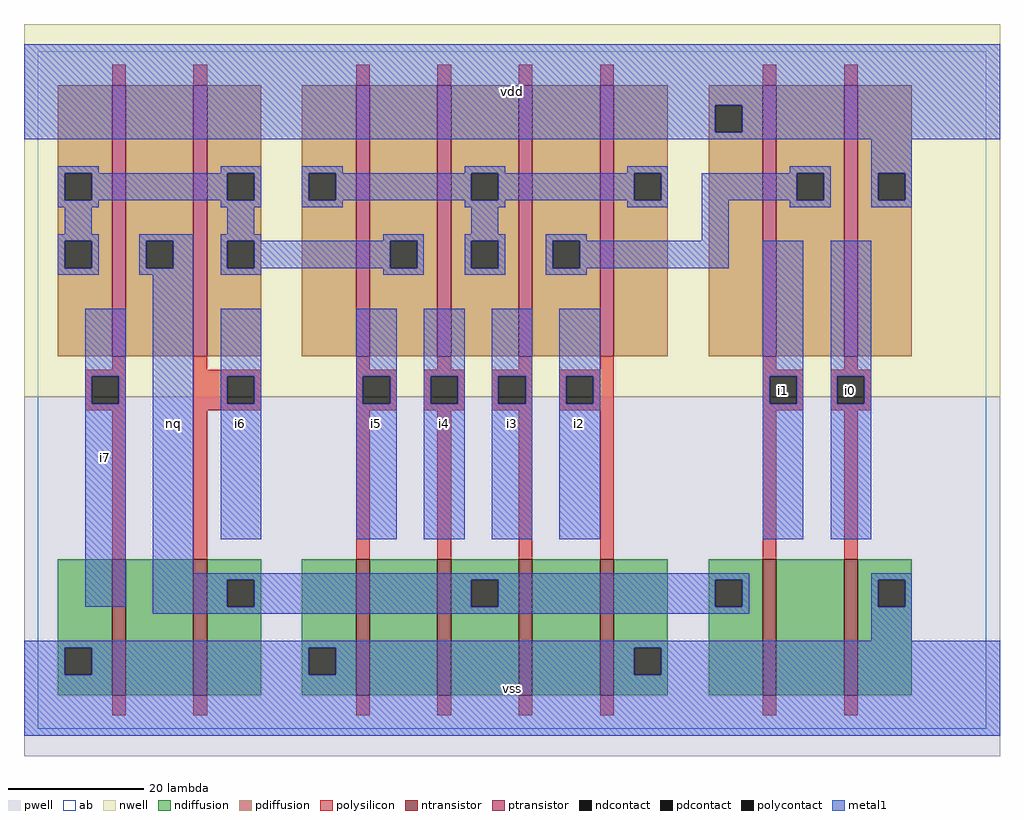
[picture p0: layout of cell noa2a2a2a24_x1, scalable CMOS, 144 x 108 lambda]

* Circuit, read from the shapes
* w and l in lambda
.subckt noa2a2a2a24_x1 i0 i1 i2 i3 i4 i5 i6 i7 nq vdd vss
M1 n1 i7 vss VSUBS nfet w=20 l=2
M2 nq i6 n1 VSUBS nfet w=20 l=2
M3 n2 i5 vss VSUBS nfet w=20 l=2
M4 nq i4 n2 VSUBS nfet w=20 l=2
M5 n3 i3 nq VSUBS nfet w=20 l=2
M6 vss i2 n3 VSUBS nfet w=20 l=2
M7 n4 i1 nq VSUBS nfet w=20 l=2
M8 vss i0 n4 VSUBS nfet w=20 l=2
M9 nq i7 n5 n6 pfet w=40 l=2
M10 n5 i6 nq n6 pfet w=40 l=2
M11 n5 i5 n7 n6 pfet w=40 l=2
M12 n7 i4 n5 n6 pfet w=40 l=2
M13 n8 i3 n7 n6 pfet w=40 l=2
M14 n7 i2 n8 n6 pfet w=40 l=2
M15 n8 i1 vdd n6 pfet w=40 l=2
M16 vdd i0 n8 n6 pfet w=40 l=2
.ends

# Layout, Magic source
magic
tech scmos
<< ab >>
rect 0 0 140 100
<< pwell >>
rect -2 -4 142 49
<< nwell >>
rect -2 49 142 104
<< polysilicon >>
rect 11 95 13 98
rect 23 95 25 98
rect 47 95 49 98
rect 59 95 61 98
rect 71 95 73 98
rect 83 95 85 98
rect 107 95 109 98
rect 119 95 121 98
rect 11 53 13 55
rect 7 52 13 53
rect 7 48 8 52
rect 12 48 13 52
rect 7 47 13 48
rect 11 25 13 47
rect 23 53 25 55
rect 47 53 49 55
rect 59 53 61 55
rect 71 53 73 55
rect 83 53 85 55
rect 23 52 33 53
rect 23 48 28 52
rect 32 48 33 52
rect 23 47 33 48
rect 47 52 53 53
rect 47 48 48 52
rect 52 48 53 52
rect 47 47 53 48
rect 57 52 63 53
rect 57 48 58 52
rect 62 48 63 52
rect 57 47 63 48
rect 67 52 73 53
rect 67 48 68 52
rect 72 48 73 52
rect 67 47 73 48
rect 77 52 85 53
rect 77 48 78 52
rect 82 48 85 52
rect 77 47 85 48
rect 23 25 25 47
rect 47 25 49 47
rect 59 25 61 47
rect 71 25 73 47
rect 83 25 85 47
rect 107 53 109 55
rect 119 53 121 55
rect 107 52 113 53
rect 107 48 108 52
rect 112 48 113 52
rect 107 47 113 48
rect 117 52 123 53
rect 117 48 118 52
rect 122 48 123 52
rect 117 47 123 48
rect 107 25 109 47
rect 119 25 121 47
rect 11 2 13 5
rect 23 2 25 5
rect 47 2 49 5
rect 59 2 61 5
rect 71 2 73 5
rect 83 2 85 5
rect 107 2 109 5
rect 119 2 121 5
<< ndiffusion >>
rect 3 12 11 25
rect 3 8 4 12
rect 8 8 11 12
rect 3 5 11 8
rect 13 5 23 25
rect 25 22 33 25
rect 25 18 28 22
rect 32 18 33 22
rect 25 5 33 18
rect 39 12 47 25
rect 39 8 40 12
rect 44 8 47 12
rect 39 5 47 8
rect 49 5 59 25
rect 61 22 71 25
rect 61 18 64 22
rect 68 18 71 22
rect 61 5 71 18
rect 73 5 83 25
rect 85 12 93 25
rect 85 8 88 12
rect 92 8 93 12
rect 85 5 93 8
rect 99 22 107 25
rect 99 18 100 22
rect 104 18 107 22
rect 99 5 107 18
rect 109 5 119 25
rect 121 22 129 25
rect 121 18 124 22
rect 128 18 129 22
rect 121 5 129 18
<< pdiffusion >>
rect 3 82 11 95
rect 3 78 4 82
rect 8 78 11 82
rect 3 72 11 78
rect 3 68 4 72
rect 8 68 11 72
rect 3 55 11 68
rect 13 72 23 95
rect 13 68 16 72
rect 20 68 23 72
rect 13 55 23 68
rect 25 82 33 95
rect 25 78 28 82
rect 32 78 33 82
rect 25 72 33 78
rect 25 68 28 72
rect 32 68 33 72
rect 25 55 33 68
rect 39 82 47 95
rect 39 78 40 82
rect 44 78 47 82
rect 39 55 47 78
rect 49 72 59 95
rect 49 68 52 72
rect 56 68 59 72
rect 49 55 59 68
rect 61 82 71 95
rect 61 78 64 82
rect 68 78 71 82
rect 61 72 71 78
rect 61 68 64 72
rect 68 68 71 72
rect 61 55 71 68
rect 73 72 83 95
rect 73 68 76 72
rect 80 68 83 72
rect 73 55 83 68
rect 85 82 93 95
rect 85 78 88 82
rect 92 78 93 82
rect 85 55 93 78
rect 99 92 107 95
rect 99 88 100 92
rect 104 88 107 92
rect 99 55 107 88
rect 109 82 119 95
rect 109 78 112 82
rect 116 78 119 82
rect 109 55 119 78
rect 121 82 129 95
rect 121 78 124 82
rect 128 78 129 82
rect 121 55 129 78
<< metal1 >>
rect -2 92 142 101
rect -2 88 100 92
rect 104 88 142 92
rect -2 87 142 88
rect 3 82 9 83
rect 27 82 33 83
rect 3 78 4 82
rect 8 78 28 82
rect 32 78 33 82
rect 3 77 9 78
rect 27 77 33 78
rect 39 82 45 83
rect 63 82 69 83
rect 87 82 93 83
rect 111 82 117 83
rect 39 78 40 82
rect 44 78 64 82
rect 68 78 88 82
rect 92 78 93 82
rect 39 77 45 78
rect 63 77 69 78
rect 87 77 93 78
rect 98 78 112 82
rect 116 78 117 82
rect 4 73 8 77
rect 28 73 32 77
rect 64 73 68 77
rect 3 72 9 73
rect 3 68 4 72
rect 8 68 9 72
rect 3 67 9 68
rect 15 72 23 73
rect 15 68 16 72
rect 20 68 23 72
rect 15 67 23 68
rect 27 72 33 73
rect 51 72 57 73
rect 27 68 28 72
rect 32 68 52 72
rect 56 68 57 72
rect 27 67 33 68
rect 51 67 57 68
rect 63 72 69 73
rect 63 68 64 72
rect 68 68 69 72
rect 63 67 69 68
rect 75 72 81 73
rect 98 72 102 78
rect 111 77 117 78
rect 123 82 129 87
rect 123 78 124 82
rect 128 78 129 82
rect 123 77 129 78
rect 75 68 76 72
rect 80 68 102 72
rect 75 67 81 68
rect 7 52 13 62
rect 7 48 8 52
rect 12 48 13 52
rect 7 18 13 48
rect 17 23 23 67
rect 27 52 33 62
rect 27 48 28 52
rect 32 48 33 52
rect 27 28 33 48
rect 47 52 53 62
rect 47 48 48 52
rect 52 48 53 52
rect 47 28 53 48
rect 57 52 63 62
rect 57 48 58 52
rect 62 48 63 52
rect 57 28 63 48
rect 67 52 73 62
rect 67 48 68 52
rect 72 48 73 52
rect 67 28 73 48
rect 77 52 83 62
rect 77 48 78 52
rect 82 48 83 52
rect 77 28 83 48
rect 107 52 113 72
rect 107 48 108 52
rect 112 48 113 52
rect 107 28 113 48
rect 117 52 123 72
rect 117 48 118 52
rect 122 48 123 52
rect 117 28 123 48
rect 17 22 105 23
rect 17 18 28 22
rect 32 18 64 22
rect 68 18 100 22
rect 104 18 105 22
rect 17 17 105 18
rect 123 22 129 23
rect 123 18 124 22
rect 128 18 129 22
rect 123 13 129 18
rect -2 12 142 13
rect -2 8 4 12
rect 8 8 40 12
rect 44 8 88 12
rect 92 8 142 12
rect -2 -1 142 8
<< ntransistor >>
rect 11 5 13 25
rect 23 5 25 25
rect 47 5 49 25
rect 59 5 61 25
rect 71 5 73 25
rect 83 5 85 25
rect 107 5 109 25
rect 119 5 121 25
<< ptransistor >>
rect 11 55 13 95
rect 23 55 25 95
rect 47 55 49 95
rect 59 55 61 95
rect 71 55 73 95
rect 83 55 85 95
rect 107 55 109 95
rect 119 55 121 95
<< polycontact >>
rect 8 48 12 52
rect 28 48 32 52
rect 48 48 52 52
rect 58 48 62 52
rect 68 48 72 52
rect 78 48 82 52
rect 108 48 112 52
rect 118 48 122 52
<< ndcontact >>
rect 4 8 8 12
rect 28 18 32 22
rect 40 8 44 12
rect 64 18 68 22
rect 88 8 92 12
rect 100 18 104 22
rect 124 18 128 22
<< pdcontact >>
rect 4 78 8 82
rect 4 68 8 72
rect 16 68 20 72
rect 28 78 32 82
rect 28 68 32 72
rect 40 78 44 82
rect 52 68 56 72
rect 64 78 68 82
rect 64 68 68 72
rect 76 68 80 72
rect 88 78 92 82
rect 100 88 104 92
rect 112 78 116 82
rect 124 78 128 82
<< labels >>
rlabel metal1 10 40 10 40 6 i7
rlabel metal1 10 40 10 40 6 i7
rlabel metal1 20 45 20 45 6 nq
rlabel metal1 20 45 20 45 6 nq
rlabel metal1 50 45 50 45 6 i5
rlabel metal1 30 45 30 45 6 i6
rlabel metal1 50 45 50 45 6 i5
rlabel metal1 30 45 30 45 6 i6
rlabel metal1 70 6 70 6 6 vss
rlabel metal1 70 6 70 6 6 vss
rlabel metal1 60 45 60 45 6 i4
rlabel metal1 70 45 70 45 6 i3
rlabel metal1 80 45 80 45 6 i2
rlabel metal1 80 45 80 45 6 i2
rlabel metal1 70 45 70 45 6 i3
rlabel metal1 60 45 60 45 6 i4
rlabel metal1 70 94 70 94 6 vdd
rlabel metal1 70 94 70 94 6 vdd
rlabel polycontact 110 50 110 50 6 i1
rlabel polycontact 110 50 110 50 6 i1
rlabel polycontact 120 50 120 50 6 i0
rlabel polycontact 120 50 120 50 6 i0
<< end >>
